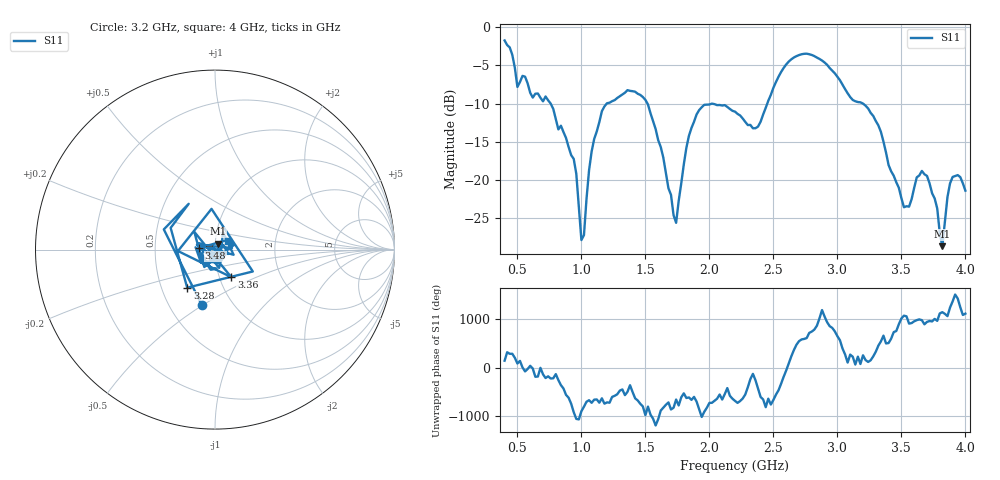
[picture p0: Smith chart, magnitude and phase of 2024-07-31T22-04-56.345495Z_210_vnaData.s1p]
!Created with skrf (http://scikit-rf.org).
# Hz S RI R 50.0
!freq ReS11 ImS11
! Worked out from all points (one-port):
!   181 points, 400 MHz to 4 GHz, reference 50 ohm
!   lowest |S11| = -28.7 dB at 3.82 GHz (marker M1), VSWR 1.08, Z = 51.6 + j3.38 ohm
!   |S11| at or under -10 dB: 760.2 MHz to 1.197 GHz (437.3 MHz wide, 44.7 % of centre); 1.517 GHz to 2.019 GHz (502.6 MHz wide, 28.4 % of centre); 3.201 GHz to end of sweep (the widest 3 of 4)
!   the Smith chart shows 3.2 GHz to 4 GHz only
!   S11 on the Smith chart (normalised r, x): 3.2 GHz: 0.72, -0.49; 3.28 GHz: 0.68, -0.31; 3.36 GHz: 1.14, -0.36; 3.48 GHz: 0.84, +0.02; 4 GHz: 1.15, +0.11
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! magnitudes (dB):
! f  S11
! 400 MHz  -1.7
! 500 MHz  -7.8
! 720 MHz  -9.1
! 860 MHz  -13.7
! 960 MHz  -19.2
! 1 GHz  -27.9
! 1.1 GHz  -14.6
! 1.3 GHz  -9.0
! 1.52 GHz  -10.1
! 1.72 GHz  -24.6
! 1.76 GHz  -22.8
! 1.84 GHz  -14.2
! 1.92 GHz  -10.8
! 2.2 GHz  -11.0
! 2.38 GHz  -13.0
! 2.66 GHz  -4.0
! 2.88 GHz  -4.4
! 3.1 GHz  -9.1
! 3.2 GHz  -10.0
! 3.28 GHz  -11.6
! 3.36 GHz  -15.0
! 3.48 GHz  -21.0
! 3.56 GHz  -23.5
! 3.62 GHz  -19.7
! 3.7 GHz  -19.5
! 3.82 GHz  -28.7
! 3.9 GHz  -19.6
! 4 GHz  -21.4
